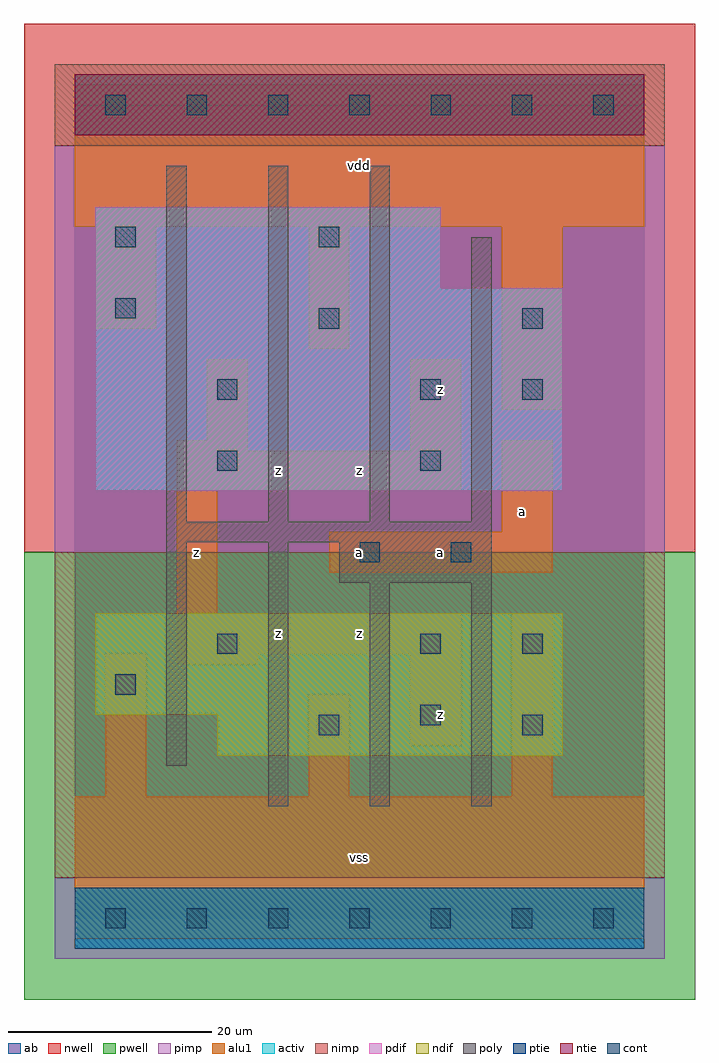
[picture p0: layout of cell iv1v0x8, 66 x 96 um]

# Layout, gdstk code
import gdstk
lib = gdstk.Library(unit=1e-6, precision=1e-09)
def R(c, l, rs):  # rectangles x0, y0, x1, y1
    for r in rs: c.add(gdstk.rectangle(r[:2], r[2:], *l))
def A(c, l, x, y, w, h, nx, ny, dx, dy):  # array of equal rectangles
    R(c, l, [(x+i*dx, y+j*dy, x+i*dx+w, y+j*dy+h) for i in range(nx) for j in range(ny)])
ndif = (3, 0)
pdif = (4, 0)
ntie = (5, 0)
ptie = (6, 0)
cont = (25, 0)
pwell = (41, 0)
nwell = (42, 0)
activ = (43, 0)
pimp = (44, 0)
nimp = (45, 0)
poly = (46, 0)
alu1 = (49, 0)
ab = (63, 0)

iv1v0x8 = lib.new_cell('iv1v0x8')
R(iv1v0x8, ndif, [(14,16,48,20), (2,20,48,30)])
R(iv1v0x8, pdif, [(2,42,48,62), (2,62,36,70)])
R(iv1v0x8, ntie, [(0,77,56,83)])
R(iv1v0x8, ptie, [(0,-3,56,3)])
A(iv1v0x8, cont, 3, -1, 2, 2, 7, 2, 8, 80)
R(iv1v0x8, cont, [(24,18,26,20), (44,18,46,20), (34,19,36,21), (4,22,6,24), (14,26,16,28), (34,26,36,28), (44,26,46,28), (28,35,30,37), (37,35,39,37), (14,44,16,46), (34,44,36,46), (14,51,16,53), (34,51,36,53), (44,51,46,53), (24,58,26,60), (44,58,46,60), (4,59,6,61), (4,66,6,68), (24,66,26,68)])
R(iv1v0x8, pwell, [(-5,-8,61,36)])
R(iv1v0x8, nwell, [(-5,36,61,88)])
R(iv1v0x8, activ, [(0,-3,56,3), (14,16,48,20), (2,20,48,30), (2,42,48,62), (2,62,36,70), (0,77,56,83)])
R(iv1v0x8, pimp, [(-2,-4,58,4), (-2,36,58,76)])
R(iv1v0x8, nimp, [(-2,4,58,36), (-2,76,58,84)])
A(iv1v0x8, poly, 9, 39, 2, 35, 3, 1, 10, 0)
R(iv1v0x8, poly, [(19,11,21,37), (29,11,31,33), (39,11,41,33), (9,15,11,37), (26,33,41,37), (9,37,41,39), (39,39,41,67)])
R(iv1v0x8, alu1, [(0,-2,56,12), (3,12,7,26), (23,12,27,22), (43,12,47,30), (33,17,38,26), (10,25,18,26), (10,26,38,30), (10,30,14,42), (25,34,47,38), (42,38,47,47), (10,42,38,46), (10,46,17,47), (33,46,38,55), (13,47,17,55), (42,50,48,68), (23,56,27,68), (2,58,8,68), (0,68,56,82)])
R(iv1v0x8, ab, [(0,0,56,80)])
iv1v0x8.add(gdstk.Label('z', (12,36), layer=49, texttype=0))
iv1v0x8.add(gdstk.Label('z', (20,28), layer=49, texttype=0))
iv1v0x8.add(gdstk.Label('z', (20,44), layer=49, texttype=0))
iv1v0x8.add(gdstk.Label('vss', (28,6), layer=49, texttype=0))
iv1v0x8.add(gdstk.Label('z', (36,20), layer=49, texttype=0))
iv1v0x8.add(gdstk.Label('z', (28,28), layer=49, texttype=0))
iv1v0x8.add(gdstk.Label('a', (28,36), layer=49, texttype=0))
iv1v0x8.add(gdstk.Label('a', (36,36), layer=49, texttype=0))
iv1v0x8.add(gdstk.Label('z', (28,44), layer=49, texttype=0))
iv1v0x8.add(gdstk.Label('z', (36,52), layer=49, texttype=0))
iv1v0x8.add(gdstk.Label('vdd', (28,74), layer=49, texttype=0))
iv1v0x8.add(gdstk.Label('a', (44,40), layer=49, texttype=0))

lib.write_gds('iv1v0x8.gds')
